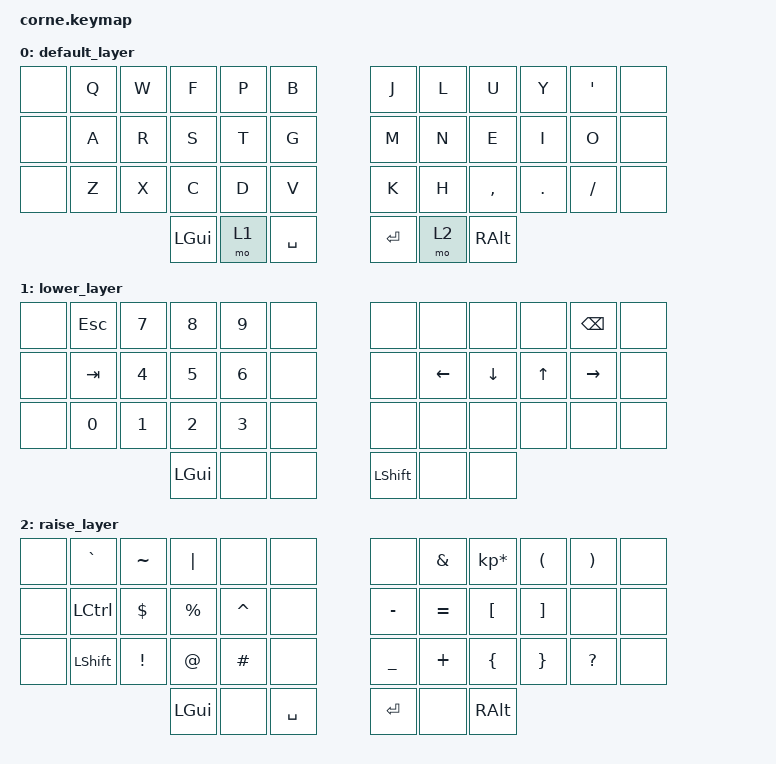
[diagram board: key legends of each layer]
/*
 * Copyright (c) 2020 The ZMK Contributors
 *
 * SPDX-License-Identifier: MIT
 */

#include <behaviors.dtsi>
#include <dt-bindings/zmk/keys.h>
#include <dt-bindings/zmk/bt.h>
#include <dt-bindings/zmk/outputs.h>

/ {
        keymap {
                compatible = "zmk,keymap";




default_layer {
// ------------------------------------------------------------------------
// |   |  Q  |  W  |  F  |  P  |  B  |    ---    |  J  |  L   |  U  |  Y  |  '  |   |
// |   |  A  |  R  |  S  |  T  |  G  |    ---    |  M  |  N   |  E  |  I  |  O  |   |
// |   |  Z  |  X  |  C  |  D  |  V  |    ---    |  K  |  H   |  ,  |  .  |  /  |   |
//                 | CMD | LWR | SPC |    ---    | ENT | RSE  | ALT |
// ------------------------------------------------------------------------

bindings = <
      &none &kp Q   &kp W   &kp F   &kp P   &kp B   &kp J   &kp L   &kp U   &kp Y   &kp SQT &none      
      &none &kp A   &kp R   &kp S   &kp T   &kp G   &kp M   &kp N   &kp E   &kp I   &kp O   &none      
      &none &kp Z   &kp X   &kp C   &kp D   &kp V   &kp K   &kp H   &kp COMMA &kp DOT &kp FSLH &none      
      &kp LGUI &mo 1 &kp SPACE &kp RET &mo 2 &kp RALT      
>;
};





lower_layer {
// ------------------------------------------------------------------------
// |   | ESC |  7  |  8  |  9  |     |    ---    |     |     |      |    |  BKSP  |   |
// |   | TAB |  4  |  5  |  6  |     |    ---    |     | LFT | DWN  | UP |  RGT   |   |
// |   |  0  |  1  |  2  |  3  |     |    ---    |     |     |      |    |        |   |
//                 | GUI |     |     |    ---    | SHFT|     |      |
// ------------------------------------------------------------------------

bindings = <
      &none &kp ESC   &kp N7 &kp N8 &kp N9 &none &none &none &none &none &kp BSPC &none      
      &none &kp TAB &kp N4 &kp N5 &kp N6 &none &none &kp LEFT &kp DOWN &kp UP &kp RIGHT &none      
      &none &kp N0 &kp N1 &kp N2 &kp N3 &none &none &none &none &none &none &none      
      &kp LGUI &none &none &kp LSHFT &none &none      
>;
};





raise_layer {
// ------------------------------------------------------------------------
// |  |  `  |  ~  | "|" |     |     |    ---    |     |  &  |  *  |  (  |  )  |   |
// |  | CTRL |  $  |  %  |  ^  |     |    ---    |  -  |  =  |  [  |  ]  |    |   |
// |  | SHFT |  !  |  @  |  #  |     |    ---    |  _  |  +  |  {  |  }  |  ?  |   |
//                 | GUI |     | SPC |    ---    | ENT |     | ALT |
// ------------------------------------------------------------------------

bindings = <
      &none &kp GRAVE &kp TILDE &kp PIPE &none &none &none &kp AMPS &kp KP_MULTIPLY &kp LPAR &kp RPAR &none      
      &none &kp LCTRL &kp DLLR &kp PRCNT &kp CARET &none &kp MINUS &kp EQUAL &kp LBKT &kp RBKT &none &none      
      &none &kp LSHFT &kp EXCL &kp AT &kp HASH &none &kp UNDER &kp PLUS &kp LBRC &kp RBRC &kp QUESTION &none      
      &kp LGUI &none &kp SPACE &kp RET &none &kp RALT      
>;
};





};
};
